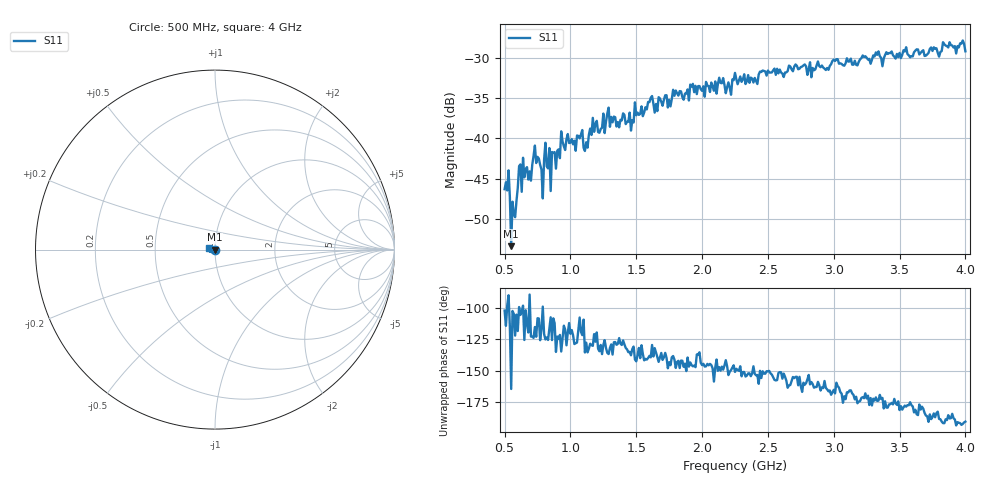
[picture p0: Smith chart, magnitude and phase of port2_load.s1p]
!Agilent Technologies,E8363C,MY49030273,A.09.42.18
!Agilent E8363C: A.09.42.18
!Date: Tuesday, May 03, 2022 03:57:34
!Correction: S22(Full 2 Port(1,2))
!S1P File: Measurement: S22:
!Created with skrf (http://scikit-rf.org).
# GHz S RI R 50.0
!freq ReS11 ImS11
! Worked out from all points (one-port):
!   351 points, 500 MHz to 4 GHz, reference 50 ohm
!   lowest |S11| = -53.4 dB at 550 MHz (marker M1), VSWR 1.00, Z = 49.8 - j0.0561 ohm
!   |S11| at or under -10 dB: start of sweep to end of sweep
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0.5  -0.00102 -0.00472
0.53  3.42e-06 -0.00632
0.55  -0.00206 -0.000564
0.56  -0.000875 -0.00394
0.58  -0.00172 -0.00274
0.62  -0.00186 -0.00662
0.63  -0.00106 -0.00453
0.64  -0.00109 -0.00749
0.7  -0.00296 -0.00458
0.73  -0.00385 -0.00814
0.78  -0.0029 -0.00571
0.79  -0.000663 -0.00418
0.81  -0.00541 -0.00766
0.83  -0.00379 -0.00528
0.84  -0.00385 -0.0078
0.85  -0.00142 -0.00448
0.86  -0.0048 -0.00667
0.89  -0.00459 -0.00457
0.94  -0.00538 -0.00792
1.11  -0.00595 -0.00583
1.38  -0.00812 -0.0102
1.82  -0.0146 -0.0113
2.22  -0.0161 -0.00941
2.25  -0.0223 -0.0123
2.69  -0.0236 -0.011
3.13  -0.0303 -0.00765
3.57  -0.0327 -0.00131
4  -0.0341 0.00648
